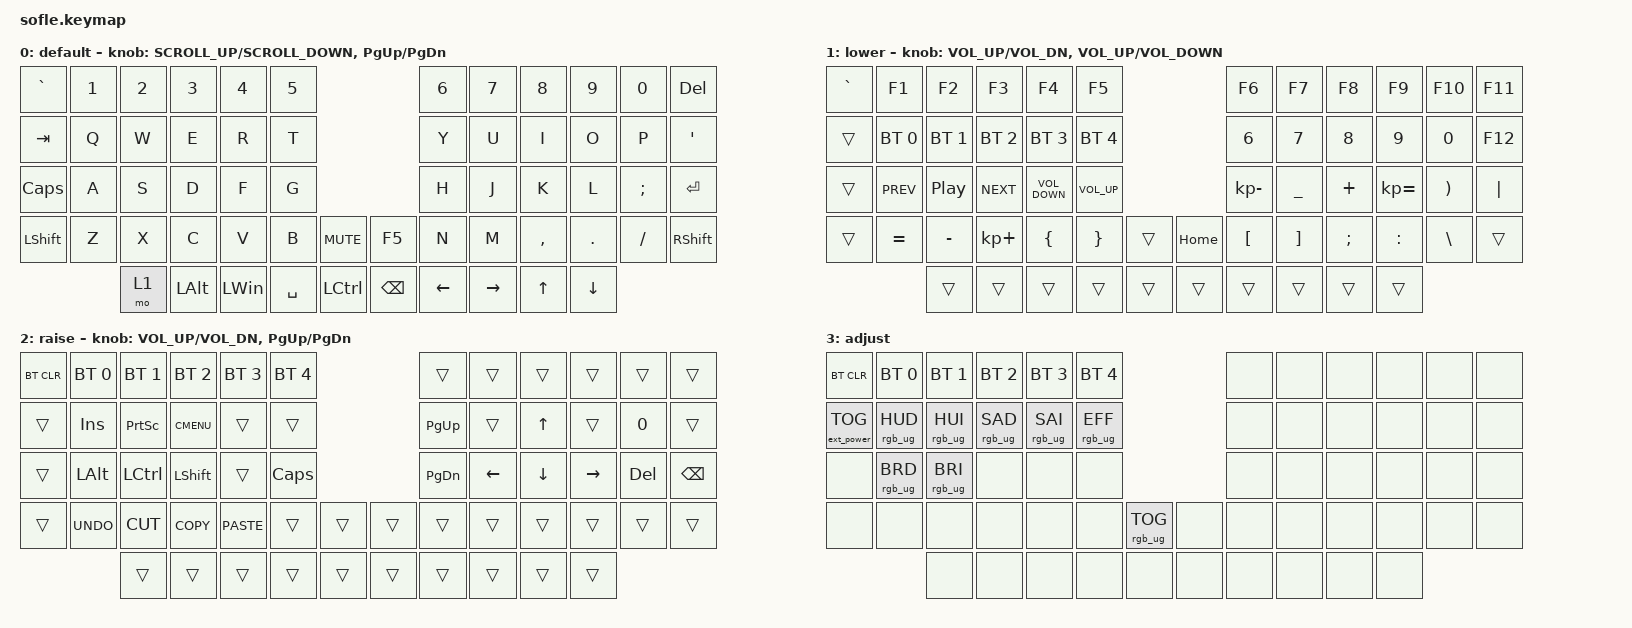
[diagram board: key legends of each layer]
/*
 * Copyright (c) 2020 The ZMK Contributors
 *
 * SPDX-License-Identifier: MIT
 */

#include <behaviors.dtsi>
#include <dt-bindings/zmk/bt.h>
#include <dt-bindings/zmk/ext_power.h>
#include <dt-bindings/zmk/keys.h>
#include <dt-bindings/zmk/rgb.h>

#define BASE 0
#define LOWER 1
#define RAISE 2
#define ADJUST 3

/ {
    // Activate ADJUST layer by pressing raise and lower

    conditional_layers {
        compatible = "zmk,conditional-layers";

        adjust_layer {
            if-layers = <LOWER RAISE>;
            then-layer = <ADJUST>;
        };
    };

    keymap {
        compatible = "zmk,keymap";

        default_layer {
            display-name = "default";

            // ------------------------------------------------------------------------------------------------------------
            // |   `   |  1  |  2  |  3   |  4   |  5   |                   |  6   |  7    |  8    |  9   |   0   |       |
            // |  ESC  |  Q  |  W  |  E   |  R   |  T   |                   |  Y   |  U    |  I    |  O   |   P   | BKSPC |
            // |  TAB  |  A  |  S  |  D   |  F   |  G   |                   |  H   |  J    |  K    |  L   |   ;   |   '   |
            // | SHIFT |  Z  |  X  |  C   |  V   |  B   |  MUTE  |  |       |  N   |  M    |  ,    |  .   |   /   | SHIFT |
            //               | GUI | ALT  | CTRL | LOWER|  ENTER |  | SPACE | RAISE| CTRL  | ALT   | GUI  |

            bindings = <
&kp GRAVE  &kp N1  &kp N2  &kp N3    &kp N4        &kp N5                                        &kp N6          &kp N7     &kp N8        &kp N9    &kp N0    &kp DELETE
&kp TAB    &kp Q   &kp W   &kp E     &kp R         &kp T                                         &kp Y           &kp U      &kp I         &kp O     &kp P     &kp SINGLE_QUOTE
&kp CAPS   &kp A   &kp S   &kp D     &kp F         &kp G                                         &kp H           &kp J      &kp K         &kp L     &kp SEMI  &kp ENTER
&kp LSHFT  &kp Z   &kp X   &kp C     &kp V         &kp B      &kp C_MUTE          &kp F5         &kp N           &kp M      &kp COMMA     &kp DOT   &kp FSLH  &kp RSHFT
                   &mo 1   &kp LALT  &kp LEFT_WIN  &kp SPACE  &kp LEFT_CONTROL    &kp BACKSPACE  &kp LEFT_ARROW  &kp RIGHT  &kp UP_ARROW  &kp DOWN
            >;

            sensor-bindings =
                <&inc_dec_kp K_SCROLL_UP K_SCROLL_DOWN>,
                <&inc_dec_kp PG_UP PG_DN>;
        };

        lower_layer {
            display-name = "lower";

            // TODO: Some binds are waiting for shifted keycode support.
            // ------------------------------------------------------------------------------------------------------------
            // |       |  F1 |  F2 |  F3  |  F4  |  F5  |                   |  F6  |  F7   |  F8   |  F9  |  F10  |  F11  |
            // |   `   |  1  |  2  |  3   |  4   |  5   |                   |  6   |  7    |  8    |  9   |   0   |  F12  |
            // |       |  !  |  @  |  #   |  $   |  %   |                   |  ^   |  &    |  *    |  (   |   )   |   |   |
            // |       |  =  |  -  |  +   |  {   |  }   |        |  |       |  [   |  ]    |  ;    |  :   |   \   |       |
            //               |     |      |      |      |        |  |       |      |       |       |      |

            bindings = <
&kp GRAVE  &kp F1        &kp F2            &kp F3        &kp F4             &kp F5                               &kp F6           &kp F7     &kp F8    &kp F9        &kp F10   &kp F11
&trans     &bt BT_SEL 0  &bt BT_SEL 1      &bt BT_SEL 2  &bt BT_SEL 3       &bt BT_SEL 4                         &kp N6           &kp N7     &kp N8    &kp N9        &kp N0    &kp F12
&trans     &kp C_PREV    &kp C_PLAY_PAUSE  &kp C_NEXT    &kp C_VOLUME_DOWN  &kp C_VOLUME_UP                      &kp KP_SUBTRACT  &kp UNDER  &kp PLUS  &kp KP_EQUAL  &kp RPAR  &kp PIPE
&trans     &kp EQUAL     &kp MINUS         &kp KP_PLUS   &kp LBRC           &kp RBRC         &trans    &kp HOME  &kp LBKT         &kp RBKT   &kp SEMI  &kp COLON     &kp BSLH  &trans
                         &trans            &trans        &trans             &trans           &trans    &trans    &trans           &trans     &trans    &trans
            >;

            sensor-bindings =
                <&inc_dec_kp C_VOL_UP C_VOL_DN>,
                <&inc_dec_kp C_VOLUME_UP C_VOLUME_DOWN>;
        };

        raise_layer {
            display-name = "raise";

            // ------------------------------------------------------------------------------------------------------------
            // | BTCLR | BT1  | BT2  |  BT3  |  BT4  |  BT5 |                |      |      |       |      |       |       |
            // |       | INS  | PSCR | GUI   |       |      |                | PGUP |      |   ^   |      |       |       |
            // |       | ALT  | CTRL | SHIFT |       | CAPS |                | PGDN |   <- |   v   |  ->  |  DEL  | BKSPC |
            // |       | UNDO | CUT  | COPY  | PASTE |      |      |  |      |      |      |       |      |       |       |
            //                |      |       |       |      |      |  |      |      |      |       |      |

            bindings = <
&bt BT_CLR  &bt BT_SEL 0  &bt BT_SEL 1  &bt BT_SEL 2  &bt BT_SEL 3  &bt BT_SEL 4                    &trans     &trans    &trans    &trans     &trans   &trans
&trans      &kp INS       &kp PSCRN     &kp K_CMENU   &trans        &trans                          &kp PG_UP  &trans    &kp UP    &trans     &kp N0   &trans
&trans      &kp LALT      &kp LCTRL     &kp LSHFT     &trans        &kp CLCK                        &kp PG_DN  &kp LEFT  &kp DOWN  &kp RIGHT  &kp DEL  &kp BSPC
&trans      &kp K_UNDO    &kp K_CUT     &kp K_COPY    &kp K_PASTE   &trans        &trans    &trans  &trans     &trans    &trans    &trans     &trans   &trans
                          &trans        &trans        &trans        &trans        &trans    &trans  &trans     &trans    &trans    &trans
            >;

            sensor-bindings = <&inc_dec_kp C_VOL_UP C_VOL_DN &inc_dec_kp PG_UP PG_DN>;
        };

        adjust_layer {
            // ----------------------------------------------------------------------------------------------------------------------------
            // | BTCLR  |  BT1    |  BT2    |   BT3   |   BT4   |   BT5   |                  |      |      |       |      |       |       |
            // | EXTPWR | RGB_HUD | RGB_HUI | RGB_SAD | RGB_SAI | RGB_EFF |                  |      |      |       |      |       |       |
            // |        | RGB_BRD | RGB_BRI |         |         |         |                  |      |      |       |      |       |       |
            // |        |         |         |         |         |         | RGB_TOG | |      |      |      |       |      |       |       |
            //                    |         |         |         |         |         | |      |      |      |       |      |

            display-name = "adjust";
            bindings = <
&bt BT_CLR         &bt BT_SEL 0     &bt BT_SEL 1     &bt BT_SEL 2     &bt BT_SEL 3     &bt BT_SEL 4                               &none  &none  &none  &none  &none  &none
&ext_power EP_TOG  &rgb_ug RGB_HUD  &rgb_ug RGB_HUI  &rgb_ug RGB_SAD  &rgb_ug RGB_SAI  &rgb_ug RGB_EFF                            &none  &none  &none  &none  &none  &none
&none              &rgb_ug RGB_BRD  &rgb_ug RGB_BRI  &none            &none            &none                                      &none  &none  &none  &none  &none  &none
&none              &none            &none            &none            &none            &none            &rgb_ug RGB_TOG    &none  &none  &none  &none  &none  &none  &none
                                    &none            &none            &none            &none            &none              &none  &none  &none  &none  &none
            >;
        };
    };
};
